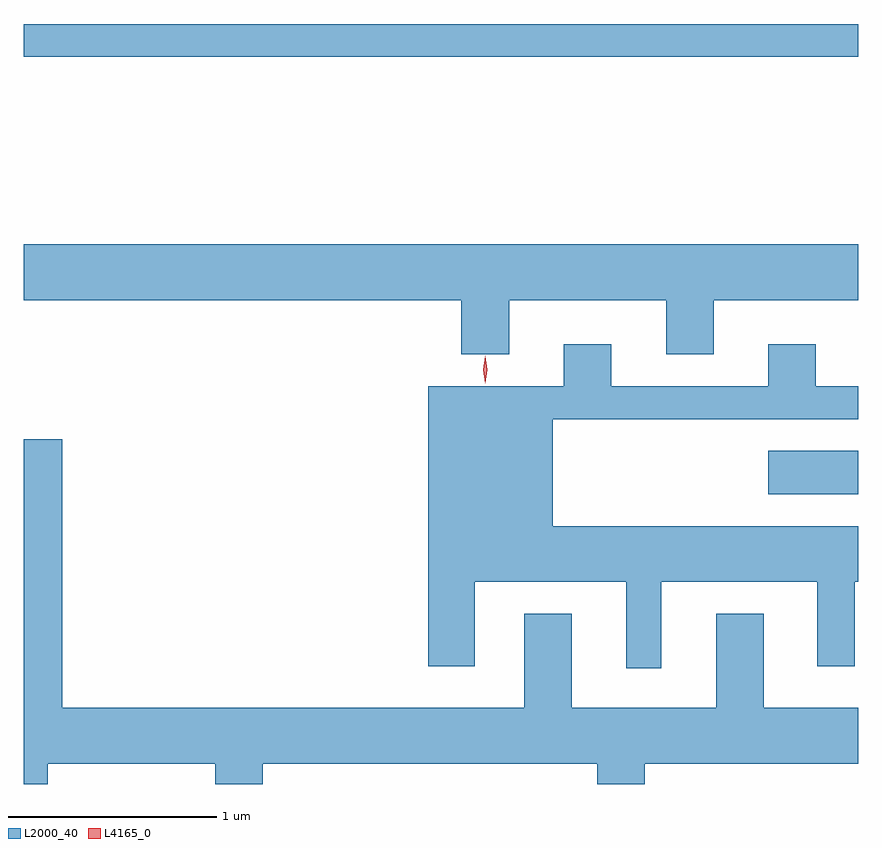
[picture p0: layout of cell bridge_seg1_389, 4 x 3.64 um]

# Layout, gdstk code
import gdstk
lib = gdstk.Library(unit=1e-6, precision=1e-09)
def R(c, l, rs):  # rectangles x0, y0, x1, y1
    for r in rs: c.add(gdstk.rectangle(r[:2], r[2:], *l))
def P(c, l, *ps):  # polygons
    for p in ps: c.add(gdstk.Polygon(p, *l))
L2000_40 = (2000, 40)
L4165_0 = (4165, 0)

bridge_seg1_389 = lib.new_cell('bridge_seg1_389')
R(bridge_seg1_389, L2000_40, [(566.641,938.606,567.073,938.814), (563.073,940.701,567.073,940.859)])
P(bridge_seg1_389, L2000_40, [(565.399,939.536),(566.151,939.536),(566.151,939.276),(566.379,939.276),(566.379,939.536),(567.073,939.536),(567.073,939.804),(563.073,939.804),(563.073,939.536),(565.171,939.536),(565.171,939.276),(565.399,939.276)],
  [(566.129,938.186),(566.876,938.186),(566.876,937.781),(567.054,937.781),(567.054,938.186),(567.073,938.186),(567.073,938.454),(565.609,938.454),(565.609,938.966),(567.073,938.966),(567.073,939.124),(566.869,939.124),(566.869,939.324),(566.641,939.324),(566.641,939.124),(565.889,939.124),(565.889,939.324),(565.661,939.324),(565.661,939.124),(565.011,939.124),(565.011,937.781),(565.234,937.781),(565.234,938.186),(565.961,938.186),(565.961,937.773),(566.129,937.773)],
  [(563.189,937.316),(563.991,937.316),(563.991,937.218),(564.219,937.218),(564.219,937.316),(565.821,937.316),(565.821,937.218),(566.049,937.218),(566.049,937.316),(567.073,937.316),(567.073,937.584),(566.619,937.584),(566.619,938.034),(566.391,938.034),(566.391,937.584),(565.699,937.584),(565.699,938.034),(565.471,938.034),(565.471,937.584),(563.259,937.584),(563.259,938.869),(563.073,938.869),(563.073,937.218),(563.189,937.218)])
P(bridge_seg1_389, L4165_0, [(565.285,939.137),(565.275,939.203),(565.284,939.268),(565.285,939.269),(565.285,939.268),(565.295,939.203),(565.286,939.137),(565.286,939.137)])

lib.write_gds('bridge_seg1_389.gds')
